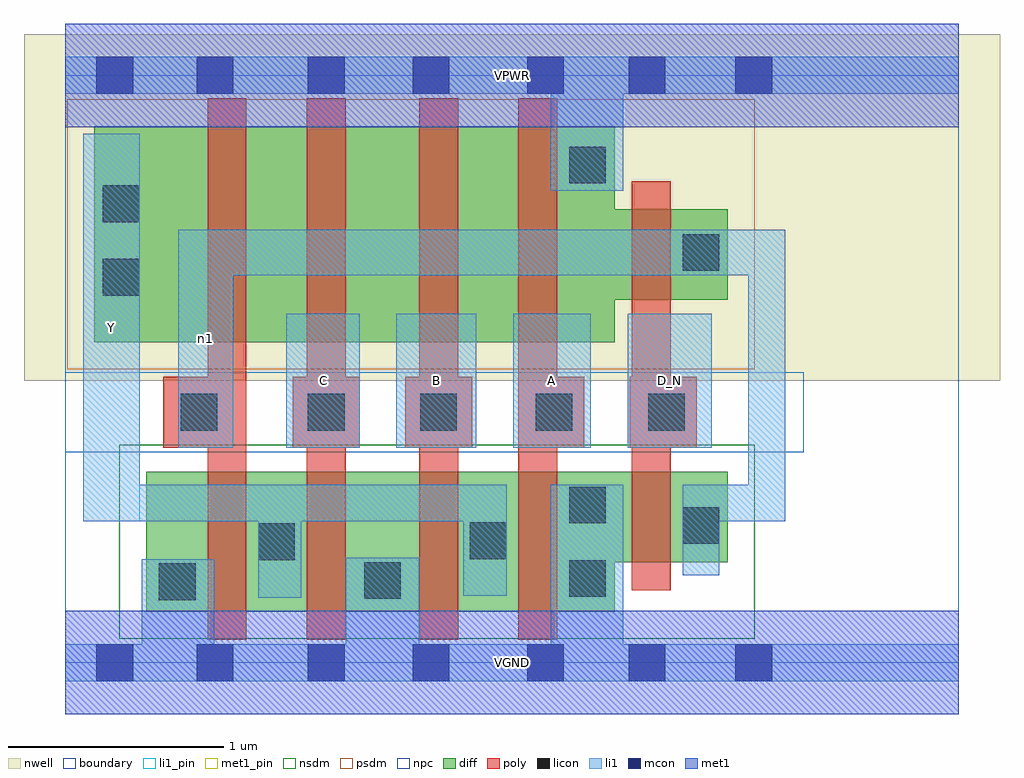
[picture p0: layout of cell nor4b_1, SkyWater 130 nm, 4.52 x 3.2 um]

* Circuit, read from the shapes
.subckt nor4b_1 A B C D_N VGND VPWR Y n1
XM1 Y n1 VGND VSUBS sky130_fd_pr__nfet_01v8 w=0.65 l=0.18
XM2 VGND C Y VSUBS sky130_fd_pr__nfet_01v8 w=0.65 l=0.18
XM3 Y B VGND VSUBS sky130_fd_pr__nfet_01v8 w=0.65 l=0.18
XM4 VGND A Y VSUBS sky130_fd_pr__nfet_01v8 w=0.65 l=0.18
XM5 n1 D_N VGND VSUBS sky130_fd_pr__nfet_01v8 w=0.42 l=0.18
XM6 n2 n1 Y n3 sky130_fd_pr__pfet_01v8 w=1 l=0.18
XM7 n4 C n2 n3 sky130_fd_pr__pfet_01v8 w=1 l=0.18
XM8 n5 B n4 n3 sky130_fd_pr__pfet_01v8 w=1 l=0.18
XM9 VPWR A n5 n3 sky130_fd_pr__pfet_01v8 w=1 l=0.18
XM10 n1 D_N VPWR n3 sky130_fd_pr__pfet_01v8 w=0.42 l=0.18
.ends

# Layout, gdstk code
import gdstk
lib = gdstk.Library(unit=1e-6, precision=1e-09)
def R(c, l, rs):  # rectangles x0, y0, x1, y1
    for r in rs: c.add(gdstk.rectangle(r[:2], r[2:], *l))
nwell = (64, 20)
diff = (65, 20)
poly = (66, 20)
licon = (66, 44)
li1_pin = (67, 16)
li1 = (67, 20)
mcon = (67, 44)
met1_pin = (68, 16)
met1 = (68, 20)
nsdm = (93, 44)
psdm = (94, 20)
npc = (95, 20)
boundary = (235, 4)

nor4b_1 = lib.new_cell('nor4b_1')
R(nor4b_1, nwell, [(-0.19,1.305,4.33,2.91), (0,1.305,4.14,2.91)])
R(nor4b_1, diff, [(0.375,0.235,2.545,0.885), (0.375,0.465,3.07,0.885), (0.135,1.485,2.545,2.485), (0.135,1.68,3.07,2.1)])
R(nor4b_1, poly, [(0.66,0.105,0.84,2.615), (1.12,0.105,1.3,2.615), (1.64,0.105,1.82,2.615), (2.1,0.105,2.28,2.615), (2.625,0.335,2.805,2.23), (0.455,0.995,0.84,1.325), (1.055,0.995,1.365,1.325), (1.575,0.995,1.885,1.325), (2.1,0.995,2.405,1.325), (2.615,0.995,2.925,1.325)])
R(nor4b_1, licon, [(0.435,0.29,0.605,0.46), (1.385,0.295,1.555,0.465), (2.335,0.305,2.505,0.475), (0.895,0.475,1.065,0.645), (1.875,0.48,2.045,0.65), (2.86,0.55,3.03,0.72), (2.335,0.645,2.505,0.815), (0.535,1.075,0.705,1.245), (1.125,1.075,1.295,1.245), (1.645,1.075,1.815,1.245), (2.18,1.075,2.35,1.245), (2.7,1.075,2.87,1.245), (0.175,1.7,0.345,1.87), (2.86,1.815,3.03,1.985), (0.175,2.04,0.345,2.21), (2.335,2.22,2.505,2.39)])
R(nor4b_1, li1_pin, [(0.085,0.655,0.345,2.45), (1.025,0.995,1.365,1.615), (1.535,0.995,1.905,1.615), (2.075,0.995,2.435,1.615), (2.605,0.995,2.995,1.615)])
R(nor4b_1, li1, [(0,-0.085,4.14,0.085), (0.355,-0.085,0.69,0.48), (1.3,-0.085,1.64,0.485), (2.25,-0.085,2.585,0.825), (0.895,0.3,1.095,0.825), (1.845,0.31,2.045,0.825), (2.86,0.405,3.03,0.825), (0.085,0.655,0.345,2.45), (0.085,0.655,2.045,0.825), (2.86,0.655,3.335,0.825), (3.165,0.655,3.335,2.005), (0.525,0.995,0.78,2.005), (1.025,0.995,1.365,1.615), (1.535,0.995,1.905,1.615), (2.075,0.995,2.435,1.615), (2.605,0.995,2.995,1.615), (0.525,1.795,3.335,2.005), (2.25,2.185,2.585,2.805), (0,2.635,4.14,2.805)])
R(nor4b_1, mcon, [(0.145,-0.085,0.315,0.085), (0.61,-0.085,0.78,0.085), (1.125,-0.085,1.295,0.085), (1.61,-0.085,1.78,0.085), (2.14,-0.085,2.31,0.085), (2.61,-0.085,2.78,0.085), (3.105,-0.085,3.275,0.085), (0.145,2.635,0.315,2.805), (0.61,2.635,0.78,2.805), (1.125,2.635,1.295,2.805), (1.61,2.635,1.78,2.805), (2.14,2.635,2.31,2.805), (2.61,2.635,2.78,2.805), (3.105,2.635,3.275,2.805)])
R(nor4b_1, met1_pin, [(0,-0.24,4.14,0.24), (0,2.48,4.14,2.96)])
R(nor4b_1, met1, [(0,-0.24,4.14,0.24), (0,2.48,4.14,2.96)])
R(nor4b_1, nsdm, [(0.25,0.11,3.195,1.01)])
R(nor4b_1, psdm, [(0.01,1.36,3.195,2.61)])
R(nor4b_1, npc, [(0,0.975,3.42,1.345)])
R(nor4b_1, boundary, [(0,0,4.14,2.72)])
nor4b_1.add(gdstk.Label('A', (2.255,1.305), layer=67, texttype=5))
nor4b_1.add(gdstk.Label('B', (1.72,1.305), layer=67, texttype=5))
nor4b_1.add(gdstk.Label('C', (1.195,1.305), layer=67, texttype=5))
nor4b_1.add(gdstk.Label('D_N', (2.8,1.305), layer=67, texttype=5))
nor4b_1.add(gdstk.Label('Y', (0.215,1.552), layer=67, texttype=5))
nor4b_1.add(gdstk.Label('n1', (0.652,1.5), layer=67, texttype=5))
nor4b_1.add(gdstk.Label('VPWR', (2.07,2.72), layer=68, texttype=5))
nor4b_1.add(gdstk.Label('VGND', (2.07,0), layer=68, texttype=5))
nor4b_1.add(gdstk.Label('A', (2.255,1.305), layer=67, texttype=16))
nor4b_1.add(gdstk.Label('B', (1.72,1.305), layer=67, texttype=16))
nor4b_1.add(gdstk.Label('C', (1.195,1.305), layer=67, texttype=16))
nor4b_1.add(gdstk.Label('D_N', (2.8,1.305), layer=67, texttype=16))
nor4b_1.add(gdstk.Label('Y', (0.215,1.552), layer=67, texttype=16))
nor4b_1.add(gdstk.Label('VPWR', (2.07,2.72), layer=68, texttype=16))
nor4b_1.add(gdstk.Label('VGND', (2.07,0), layer=68, texttype=16))

lib.write_gds('nor4b_1.gds')
